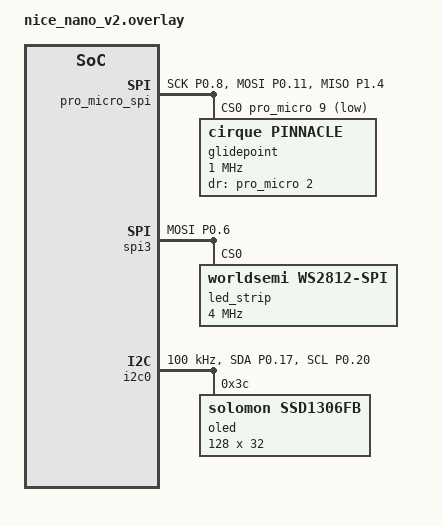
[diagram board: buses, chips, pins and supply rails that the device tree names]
#include <dt-bindings/led/led.h>

&pinctrl {
	spi0_default: spi0_default {
		group1 {
			psels = <NRF_PSEL(SPIM_SCK, 0, 8)>,
			<NRF_PSEL(SPIM_MOSI, 0, 11)>,
			<NRF_PSEL(SPIM_MISO, 1, 4)>;
		};
	};
	
	spi0_sleep: spi0_sleep {
		group1 {
			psels = <NRF_PSEL(SPIM_SCK, 0, 8)>,
			<NRF_PSEL(SPIM_MOSI, 0, 11)>,
			<NRF_PSEL(SPIM_MISO, 1, 4)>;
			low-power-enable;
		};
	};
	
	spi3_default: spi3_default {
		group1 {
			psels = <NRF_PSEL(SPIM_MOSI, 0, 6)>;
		};
	};
	
	spi3_sleep: spi3_sleep {
		group1 {
			psels = <NRF_PSEL(SPIM_MOSI, 0, 6)>;
			low-power-enable;
		};
	};
	
	
	i2c0_default: i2c0_default {
		group1 {
			psels = <NRF_PSEL(TWIM_SDA, 0, 17)>,
			<NRF_PSEL(TWIM_SCL, 0, 20)>;
		};
	};
	
	i2c0_sleep: i2c0_sleep {
		group1 {
			psels = <NRF_PSEL(TWIM_SDA, 0, 17)>,
			<NRF_PSEL(TWIM_SCL, 0, 20)>;
			low-power-enable;
		};
	};
	
	
};

&pro_micro_spi {
	status = "okay";
	compatible = "nordic,nrf-spim";
	pinctrl-0 = <&spi0_default>;
	pinctrl-1 = <&spi0_sleep>;
	pinctrl-names = "default", "sleep";
	cs-gpios = <&pro_micro 9 GPIO_ACTIVE_LOW>;
	
	glidepoint: glidepoint@0 {
		status = "okay";
		compatible = "cirque,pinnacle";
		reg = <0>;
		spi-max-frequency = <1000000>;
		dr-gpios = <&pro_micro 2 (GPIO_ACTIVE_HIGH)>;
		sensitivity = "4x";
		sleep;
		no-taps;
	};
};

&spi3 {
	compatible = "nordic,nrf-spim";
	status = "okay";
	
	pinctrl-0 = <&spi3_default>;
	pinctrl-1 = <&spi3_sleep>;
	pinctrl-names = "default", "sleep";
	
	led_strip: ws2812@0 {
		compatible = "worldsemi,ws2812-spi";
		
		/* SPI */
		reg = <0>; /* ignored, but necessary for SPI bindings */
		spi-max-frequency = <4000000>;
		
		/* WS2812 */
		chain-length = <18>; /* number of LEDs */
		spi-one-frame = <0x70>;
		spi-zero-frame = <0x40>;
		color-mapping = <LED_COLOR_ID_GREEN LED_COLOR_ID_RED LED_COLOR_ID_BLUE>;
	};
};

&i2c0 {
	status = "okay";
	compatible = "nordic,nrf-twim";
	pinctrl-0 = <&i2c0_default>;
	pinctrl-1 = <&i2c0_sleep>;
	pinctrl-names = "default", "sleep";
	clock-frequency = <100000>;
	
	oled: ssd1306@3c {
        compatible = "solomon,ssd1306fb";
        reg = <0x3c>;
        width = <128>;
        height = <32>;
        segment-offset = <0>;
        page-offset = <0>;
        display-offset = <0>;
        multiplex-ratio = <31>;
        segment-remap;
        com-invdir;
        com-sequential;
        inversion-on;
        prechargep = <0x22>;
    };
};



/ {
	chosen {
		zephyr,display = &oled;
		zmk,underglow = &led_strip;
	};
	glidepoint_listener {
		compatible = "zmk,input-listener";
		device = <&glidepoint>;
	};
};
